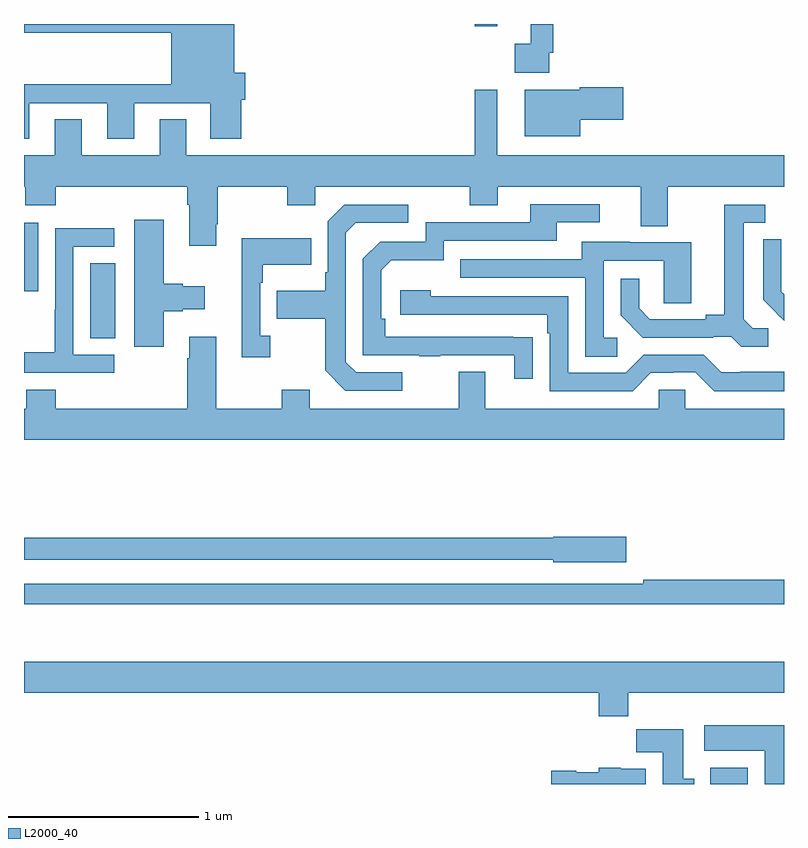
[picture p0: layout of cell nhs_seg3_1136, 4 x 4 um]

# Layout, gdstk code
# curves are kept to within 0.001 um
import gdstk
lib = gdstk.Library(unit=1e-6, precision=1e-09)
def R(c, l, rs):  # rectangles x0, y0, x1, y1
    for r in rs: c.add(gdstk.rectangle(r[:2], r[2:], *l))
def P(c, l, *ps):  # polygons
    for p in ps: c.add(gdstk.Polygon(p, *l))
L2000_40 = (2000, 40)

nhs_seg3_1136 = lib.new_cell('nhs_seg3_1136')
R(nhs_seg3_1136, L2000_40, [(172.613,736.4,172.81,736.486), (169.349,738.745,169.48,739.142), (169,738.993,169.075,739.354), (171.373,740.388,171.491,740.4)])
P(nhs_seg3_1136, L2000_40, [(171.765,740.248),(171.785,740.248),(171.785,740.4),(171.668,740.4),(171.668,740.297),(171.582,740.297),(171.582,740.144),(171.765,740.144)],
  [(169.027,739.983),(169.439,739.983),(169.439,739.797),(169.579,739.797),(169.579,739.983),(169.979,739.983),(169.979,739.797),(170.144,739.797),(170.144,740.002),(170.164,740.002),(170.164,740.144),(170.107,740.144),(170.107,740.4),(169,740.4),(169,740.354),(169.775,740.354),(169.775,740.084),(169,740.084),(169,739.797),(169.027,739.797)],
  [(171.928,739.895),(172.153,739.895),(172.153,740.066),(171.924,740.066),(171.924,740.053),(171.635,740.053),(171.635,739.808),(171.928,739.808)],
  [(170.011,739.345),(170.019,739.345),(170.019,739.544),(170.386,739.544),(170.386,739.445),(170.532,739.445),(170.532,739.544),(171.346,739.544),(171.346,739.445),(171.493,739.445),(171.493,739.544),(172.247,739.544),(172.247,739.336),(172.387,739.336),(172.387,739.544),(173,739.544),(173,739.708),(171.49,739.708),(171.49,740.053),(171.373,740.053),(171.373,739.708),(169.855,739.708),(169.855,739.898),(169.715,739.898),(169.715,739.708),(169.303,739.708),(169.303,739.898),(169.163,739.898),(169.163,739.708),(169,739.708),(169,739.544),(169.006,739.544),(169.006,739.445),(169.166,739.445),(169.166,739.544),(169.859,739.544),(169.859,739.448),(169.871,739.448),(169.871,739.233),(170.011,739.233)],
  [(171.677,738.752),(170.9,738.753),(170.9,738.85),(170.88,738.85),(170.88,739.104),(170.933,739.157),(171.21,739.157),(171.21,739.26),(171.805,739.26),(171.805,739.356),(172.03,739.356),(172.03,739.452),(171.665,739.452),(171.665,739.356),(171.114,739.356),(171.114,739.254),(170.874,739.254),(170.784,739.164),(170.784,738.657),(171.079,738.657),(171.079,738.652),(171.191,738.652),(171.191,738.657),(171.581,738.657),(171.581,738.534),(171.677,738.534)],
  [(172.918,738.798),(172.836,738.798),(172.789,738.845),(172.789,739.353),(172.9,739.353),(172.9,739.449),(172.685,739.449),(172.685,738.869),(172.589,738.869),(172.589,738.846),(172.294,738.846),(172.237,738.903),(172.237,739.06),(172.14,739.06),(172.14,738.866),(172.256,738.75),(172.628,738.75),(172.628,738.753),(172.722,738.753),(172.774,738.701),(172.918,738.701)],
  [(170.992,738.567),(170.748,738.567),(170.694,738.621),(170.694,739.302),(170.745,739.353),(171.022,739.353),(171.022,739.449),(170.685,739.449),(170.598,739.362),(170.598,739.093),(170.586,739.093),(170.586,738.997),(170.329,738.997),(170.329,738.85),(170.586,738.85),(170.586,738.577),(170.691,738.471),(170.992,738.471)],
  [(169.735,738.887),(169.835,738.887),(169.835,738.899),(169.951,738.899),(169.951,739.021),(169.835,739.021),(169.835,739.034),(169.735,739.034),(169.735,739.369),(169.58,739.369),(169.58,738.702),(169.735,738.702)],
  [(169.474,738.66),(169.26,738.66),(169.26,739.227),(169.474,739.227),(169.474,739.326),(169.164,739.326),(169.164,738.896),(169.162,738.896),(169.162,738.673),(169,738.673),(169,738.564),(169.474,738.564)],
  [(170.296,738.758),(170.244,738.758),(170.244,739.037),(170.257,739.037),(170.257,739.133),(170.513,739.133),(170.513,739.273),(170.147,739.273),(170.147,738.645),(170.296,738.645)],
  [(173,738.977),(172.985,738.992),(172.985,739.114),(172.986,739.114),(172.986,739.268),(172.89,739.268),(172.89,738.95),(172.963,738.877),(172.962,738.876),(173,738.838)],
  [(172.123,738.75),(172.05,738.75),(172.05,739.155),(172.368,739.155),(172.368,738.931),(172.513,738.931),(172.513,739.251),(172.189,739.251),(172.189,739.255),(171.935,739.255),(171.935,739.161),(171.295,739.161),(171.295,739.065),(171.954,739.065),(171.954,738.649),(172.123,738.649)],
  [(173,738.571),(172.771,738.571),(172.771,738.567),(172.671,738.567),(172.578,738.66),(172.263,738.66),(172.167,738.564),(171.864,738.564),(171.864,738.966),(171.14,738.966),(171.14,739),(170.979,739),(170.979,738.87),(171.755,738.87),(171.755,738.773),(171.768,738.773),(171.768,738.468),(172.203,738.468),(172.299,738.564),(172.418,738.564),(172.418,738.567),(172.533,738.567),(172.633,738.467),(173,738.467)],
  [(173,738.376),(172.479,738.376),(172.479,738.474),(172.341,738.474),(172.341,738.376),(171.427,738.376),(171.427,738.571),(171.287,738.571),(171.287,738.376),(170.503,738.376),(170.503,738.475),(170.356,738.475),(170.356,738.376),(170.011,738.376),(170.011,738.754),(169.871,738.754),(169.871,738.641),(169.859,738.641),(169.859,738.376),(169.166,738.376),(169.166,738.475),(169.013,738.475),(169.013,738.376),(169,738.376),(169,738.212),(173,738.212)],
  [(172.171,737.702),(171.786,737.702),(171.786,737.696),(169,737.696),(169,737.58),(171.786,737.58),(171.786,737.567),(172.171,737.567)],
  [(173,737.474),(172.258,737.474),(172.258,737.454),(169,737.454),(169,737.346),(173,737.346)],
  [(172.181,736.88),(173,736.88),(173,737.044),(169,737.044),(169,736.88),(172.025,736.88),(172.025,736.756),(172.181,736.756)],
  [(173,736.708),(172.581,736.708),(172.581,736.574),(172.898,736.574),(172.898,736.4),(173,736.4)],
  [(172.528,736.428),(172.471,736.428),(172.471,736.687),(172.222,736.687),(172.222,736.568),(172.361,736.568),(172.361,736.4),(172.528,736.4)],
  [(172.273,736.48),(172.14,736.48),(172.14,736.486),(172.026,736.486),(172.026,736.462),(171.906,736.462),(171.906,736.47),(171.774,736.47),(171.774,736.4),(172.273,736.4)])

lib.write_gds('nhs_seg3_1136.gds')
